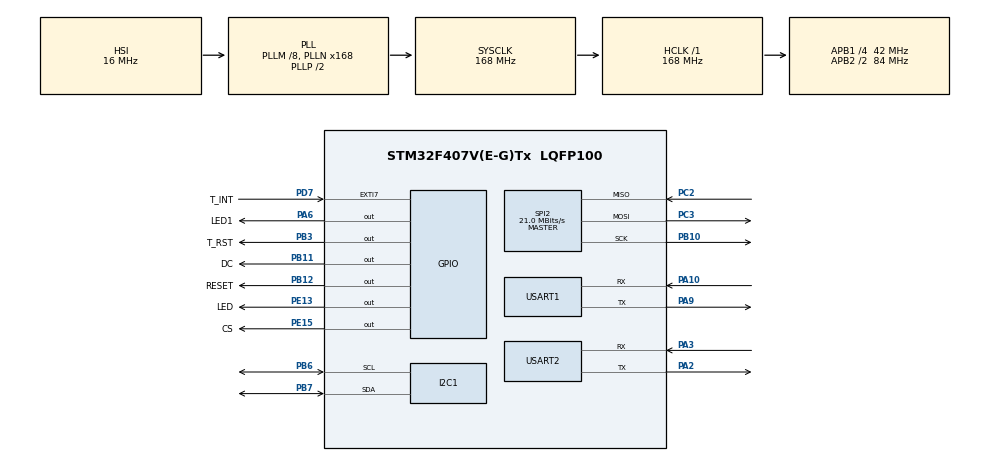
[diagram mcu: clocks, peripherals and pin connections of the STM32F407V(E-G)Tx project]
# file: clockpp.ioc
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Dma.Request0=SPI2_TX
Dma.Request1=USART2_RX
Dma.Request2=USART2_TX
Dma.SPI2_TX.0.Direction=DMA_MEMORY_TO_PERIPH
Dma.SPI2_TX.0.FIFOMode=DMA_FIFOMODE_DISABLE
Dma.SPI2_TX.0.Instance=DMA1_Stream4
Dma.SPI2_TX.0.MemDataAlignment=DMA_MDATAALIGN_BYTE
Dma.SPI2_TX.0.MemInc=DMA_MINC_ENABLE
Dma.SPI2_TX.0.Mode=DMA_NORMAL
Dma.SPI2_TX.0.PeriphDataAlignment=DMA_PDATAALIGN_BYTE
Dma.SPI2_TX.0.PeriphInc=DMA_PINC_DISABLE
Dma.SPI2_TX.0.Priority=DMA_PRIORITY_LOW
Dma.USART2_RX.1.Direction=DMA_PERIPH_TO_MEMORY
Dma.USART2_RX.1.FIFOMode=DMA_FIFOMODE_DISABLE
Dma.USART2_RX.1.Instance=DMA1_Stream5
Dma.USART2_RX.1.MemDataAlignment=DMA_MDATAALIGN_BYTE
Dma.USART2_RX.1.MemInc=DMA_MINC_ENABLE
Dma.USART2_RX.1.Mode=DMA_NORMAL
Dma.USART2_RX.1.PeriphDataAlignment=DMA_PDATAALIGN_BYTE
Dma.USART2_RX.1.PeriphInc=DMA_PINC_DISABLE
Dma.USART2_RX.1.Priority=DMA_PRIORITY_LOW
Dma.USART2_TX.2.Direction=DMA_MEMORY_TO_PERIPH
Dma.USART2_TX.2.FIFOMode=DMA_FIFOMODE_DISABLE
Dma.USART2_TX.2.Instance=DMA1_Stream6
Dma.USART2_TX.2.MemDataAlignment=DMA_MDATAALIGN_BYTE
Dma.USART2_TX.2.MemInc=DMA_MINC_ENABLE
Dma.USART2_TX.2.Mode=DMA_NORMAL
Dma.USART2_TX.2.PeriphDataAlignment=DMA_PDATAALIGN_BYTE
Dma.USART2_TX.2.PeriphInc=DMA_PINC_DISABLE
Dma.USART2_TX.2.Priority=DMA_PRIORITY_LOW
FREERTOS.Tasks01=defaultTask,24,128,StartDefaultTask,Default,NULL,Dynamic,NULL,NULL
FREERTOS.configCHECK_FOR_STACK_OVERFLOW=2
FREERTOS.configGENERATE_RUN_TIME_STATS=1
FREERTOS.configUSE_IDLE_HOOK=1
FREERTOS.configUSE_TICK_HOOK=1
Mcu.Family=STM32F4
Mcu.Name=STM32F407V(E-G)Tx
Mcu.Package=LQFP100
NVIC.DMA1_Stream4_IRQn=true\:5\:0\:false\:false\:true\:true\:false\:true\:true
NVIC.DMA1_Stream5_IRQn=true\:5\:0\:false\:false\:true\:true\:false\:true\:true
NVIC.DMA1_Stream6_IRQn=true\:5\:0\:false\:false\:true\:true\:false\:true\:true
NVIC.PriorityGroup=NVIC_PRIORITYGROUP_4
NVIC.SPI2_IRQn=true\:5\:0\:false\:false\:true\:true\:true\:true\:true
NVIC.TIM4_IRQn=true\:15\:0\:false\:false\:true\:false\:false\:true\:true
NVIC.TimeBase=TIM4_IRQn
NVIC.TimeBaseIP=TIM4
NVIC.USART1_IRQn=true\:5\:0\:false\:false\:true\:true\:true\:true\:true
NVIC.USART2_IRQn=true\:5\:0\:false\:false\:true\:true\:true\:true\:true
PA10.Mode=Asynchronous
PA10.Signal=USART1_RX
PA2.Mode=Asynchronous
PA2.Signal=USART2_TX
PA3.Mode=Asynchronous
PA3.Signal=USART2_RX
PA6.GPIO_Label=LED1
PA6.GPIO_PuPd=GPIO_PULLUP
PA6.Signal=GPIO_Output
PA9.Mode=Asynchronous
PA9.Signal=USART1_TX
PB10.Mode=Full_Duplex_Master
PB10.Signal=SPI2_SCK
PB11.GPIO_Label=DC
PB11.Signal=GPIO_Output
PB12.GPIO_Label=RESET
PB12.GPIO_PuPd=GPIO_PULLUP
PB12.Signal=GPIO_Output
PB3.GPIO_Label=T_RST
PB3.Signal=GPIO_Output
PB6.Mode=I2C
PB6.Signal=I2C1_SCL
PB7.Mode=I2C
PB7.Signal=I2C1_SDA
PC14-OSC32_IN.Mode=LSE-External-Oscillator
PC14-OSC32_IN.Signal=RCC_OSC32_IN
PC15-OSC32_OUT.Mode=LSE-External-Oscillator
PC15-OSC32_OUT.Signal=RCC_OSC32_OUT
PC2.Mode=Full_Duplex_Master
PC2.Signal=SPI2_MISO
PC3.Mode=Full_Duplex_Master
PC3.Signal=SPI2_MOSI
PD7.GPIO_Label=T_INT
PD7.Signal=GPXTI7
PE13.GPIO_Label=LED
PE13.Signal=GPIO_Output
PE15.GPIO_Label=CS
PE15.GPIO_PuPd=GPIO_PULLUP
PE15.Signal=GPIO_Output
PH0-OSC_IN.Mode=HSE-External-Oscillator
PH0-OSC_IN.Signal=RCC_OSC_IN
PH1-OSC_OUT.Mode=HSE-External-Oscillator
PH1-OSC_OUT.Signal=RCC_OSC_OUT
ProjectManager.HeapSize=0x200
ProjectManager.StackSize=0x400
ProjectManager.TargetToolchain=MDK-ARM V5.32
RCC.48MHZClocksFreq_Value=84000000
RCC.AHBFreq_Value=168000000
RCC.APB1CLKDivider=RCC_HCLK_DIV4
RCC.APB1Freq_Value=42000000
RCC.APB1TimFreq_Value=84000000
RCC.APB2CLKDivider=RCC_HCLK_DIV2
RCC.APB2Freq_Value=84000000
RCC.APB2TimFreq_Value=168000000
RCC.CortexFreq_Value=168000000
RCC.HCLKFreq_Value=168000000
RCC.HSE_VALUE=25000000
RCC.HSI_VALUE=16000000
RCC.PLLM=8
RCC.PLLN=168
RCC.RCC_RTC_Clock_Source=RCC_RTCCLKSOURCE_LSE
RCC.SYSCLKFreq_VALUE=168000000
RCC.SYSCLKSource=RCC_SYSCLKSOURCE_PLLCLK
RCC.VCOOutputFreq_Value=336000000
RTC.Format=RTC_FORMAT_BIN
SPI2.BaudRatePrescaler=SPI_BAUDRATEPRESCALER_2
SPI2.CLKPhase=SPI_PHASE_2EDGE
SPI2.CLKPolarity=SPI_POLARITY_HIGH
SPI2.CalculateBaudRate=21.0 MBits/s
SPI2.Direction=SPI_DIRECTION_2LINES
SPI2.Mode=SPI_MODE_MASTER
SPI2.VirtualType=VM_MASTER
USART1.VirtualMode=VM_ASYNC
USART2.VirtualMode=VM_ASYNC
VP_FREERTOS_VS_CMSIS_V2.Mode=CMSIS_V2
VP_RTC_VS_RTC_Activate.Mode=RTC_Enabled
VP_RTC_VS_RTC_Calendar.Mode=RTC_Calendar
VP_SYS_VS_tim4.Mode=TIM4
board=custom

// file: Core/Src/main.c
/* USER CODE BEGIN Header */
/**
  ******************************************************************************
  * @file           : main.c
  * @brief          : Main program body
  ******************************************************************************
  * @attention
  *
  * Copyright (c) 2026 STMicroelectronics.
  * All rights reserved.
  *
  * This software is licensed under terms that can be found in the LICENSE file
  * in the root directory of this software component.
  * If no LICENSE file comes with this software, it is provided AS-IS.
  *
  ******************************************************************************
  */
/* USER CODE END Header */
#include "main.h"
#include "cmsis_os.h"
#include "dma.h"
#include "i2c.h"
#include "rtc.h"
#include "spi.h"
#include "usart.h"
#include "gpio.h"

/* USER CODE BEGIN Includes */
#include <stdio.h>
/* USER CODE END Includes */

void SystemClock_Config(void);
void MX_FREERTOS_Init(void);

/* USER CODE BEGIN 0 */
int fputc(int ch,FILE *f)

{

//采用轮询方式发送1字节数据，超时时间设置为无限等待

HAL_UART_Transmit(&huart1,(uint8_t *)&ch,1,HAL_MAX_DELAY);

return ch;

}
/* USER CODE END 0 */

int main(void)
{

  /* MCU Configuration--------------------------------------------------------*/

  /* Reset of all peripherals, Initializes the Flash interface and the Systick. */
  HAL_Init();

  /* Configure the system clock */
  SystemClock_Config();

  /* Initialize all configured peripherals */
  MX_GPIO_Init();
  MX_DMA_Init();
  MX_USART1_UART_Init();
  MX_SPI2_Init();
  MX_I2C1_Init();
  MX_USART2_UART_Init();
  MX_RTC_Init();

  /* Init scheduler */
  osKernelInitialize();

  /* Call init function for freertos objects (in cmsis_os2.c) */
  MX_FREERTOS_Init();

  /* Start scheduler */
  osKernelStart();

  /* We should never get here as control is now taken by the scheduler */

  /* Infinite loop */
  while (1)
  {

  }
}

void SystemClock_Config(void)
{
  RCC_OscInitTypeDef RCC_OscInitStruct = {0};
  RCC_ClkInitTypeDef RCC_ClkInitStruct = {0};

  /** Configure the main internal regulator output voltage
  */
  __HAL_RCC_PWR_CLK_ENABLE();
  __HAL_PWR_VOLTAGESCALING_CONFIG(PWR_REGULATOR_VOLTAGE_SCALE1);

  /** Initializes the RCC Oscillators according to the specified parameters
  * in the RCC_OscInitTypeDef structure.
  */
  RCC_OscInitStruct.OscillatorType = RCC_OSCILLATORTYPE_HSI|RCC_OSCILLATORTYPE_LSE;
  RCC_OscInitStruct.LSEState = RCC_LSE_ON;
  RCC_OscInitStruct.HSIState = RCC_HSI_ON;
  RCC_OscInitStruct.HSICalibrationValue = RCC_HSICALIBRATION_DEFAULT;
  RCC_OscInitStruct.PLL.PLLState = RCC_PLL_ON;
  RCC_OscInitStruct.PLL.PLLSource = RCC_PLLSOURCE_HSI;
  RCC_OscInitStruct.PLL.PLLM = 8;
  RCC_OscInitStruct.PLL.PLLN = 168;
  RCC_OscInitStruct.PLL.PLLP = RCC_PLLP_DIV2;
  RCC_OscInitStruct.PLL.PLLQ = 4;
  if (HAL_RCC_OscConfig(&RCC_OscInitStruct) != HAL_OK)
  {
    Error_Handler();
  }

  /** Initializes the CPU, AHB and APB buses clocks
  */
  RCC_ClkInitStruct.ClockType = RCC_CLOCKTYPE_HCLK|RCC_CLOCKTYPE_SYSCLK
                              |RCC_CLOCKTYPE_PCLK1|RCC_CLOCKTYPE_PCLK2;
  RCC_ClkInitStruct.SYSCLKSource = RCC_SYSCLKSOURCE_PLLCLK;
  RCC_ClkInitStruct.AHBCLKDivider = RCC_SYSCLK_DIV1;
  RCC_ClkInitStruct.APB1CLKDivider = RCC_HCLK_DIV4;
  RCC_ClkInitStruct.APB2CLKDivider = RCC_HCLK_DIV2;

  if (HAL_RCC_ClockConfig(&RCC_ClkInitStruct, FLASH_LATENCY_5) != HAL_OK)
  {
    Error_Handler();
  }
}

void HAL_TIM_PeriodElapsedCallback(TIM_HandleTypeDef *htim)
{
  if (htim->Instance == TIM4) {
    HAL_IncTick();
  }
  /* USER CODE BEGIN Callback 1 */
  lv_tick_inc(1);
  /* USER CODE END Callback 1 */
}

void Error_Handler(void)
{
  __disable_irq();
  while (1)
  {
  }
}

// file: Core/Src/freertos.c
/* USER CODE BEGIN Header */
/**
  ******************************************************************************
  * File Name          : freertos.c
  * Description        : Code for freertos applications
  ******************************************************************************
  * @attention
  *
  * Copyright (c) 2026 STMicroelectronics.
  * All rights reserved.
  *
  * This software is licensed under terms that can be found in the LICENSE file
  * in the root directory of this software component.
  * If no LICENSE file comes with this software, it is provided AS-IS.
  *
  ******************************************************************************
  */
/* USER CODE END Header */

#include "FreeRTOS.h"
#include "task.h"
#include "main.h"
#include "cmsis_os.h"

/* USER CODE BEGIN Includes */
#include <stdio.h>
#include "display_wrapper.h"
#include "touch_wrapper.h"
#include "lv_port_indev.h"
#include "service_lettershell.h"

#include "rtc_wrapper.h"
#include "elog.h"
/* USER CODE END Includes */

/* Definitions for defaultTask */
osThreadId_t defaultTaskHandle;
const osThreadAttr_t defaultTask_attributes = {
  .name = "defaultTask",
  .stack_size = 128 * 4,
  .priority = (osPriority_t) osPriorityNormal,
};

/* USER CODE BEGIN FunctionPrototypes */
// #include "lvgl.h"
// #include "lv_port_disp.h"

/**
 * @brief 简单的按钮事件回调，用于测试触摸是否正常
 */
static void btn_event_cb(lv_event_t * e)
{
    lv_event_code_t code = lv_event_get_code(e);
    if(code == LV_EVENT_CLICKED) {
        printf("Button clicked\r\n"); // 如果开了日志，串口会打印

        // 点击后改变按钮文字
        lv_obj_t * label = lv_obj_get_child(lv_event_get_target(e), 0);
        lv_label_set_text(label, "Clicked!");
    }
}

/**
 * @brief LVGL v9.5 测试任务
 */
void lvgl_test_task(void *argument)
{
    /* 1. LVGL 核心库初始化 */
    lv_init();

    /* 2. 注册显示驱动 (内部会调用 Display_Init) */
    lv_port_disp_init();

    /* 3. 注册输入驱动 (触摸屏) */
    lv_port_indev_init();

    /* 4. 创建 UI 测试界面 */
    // v9 中建议使用 lv_screen_active() 替代 lv_scr_act()
    lv_obj_t * screen = lv_screen_active();

    // 创建一个按钮测试触摸 (v9 中 lv_btn_create 改为 lv_button_create)
    lv_obj_t * btn = lv_button_create(screen);
    lv_obj_set_size(btn, 150, 60);
    lv_obj_center(btn);
    lv_obj_add_event_cb(btn, btn_event_cb, LV_EVENT_ALL, NULL);

    // 在按钮里放个标签
    lv_obj_t * label = lv_label_create(btn);
    lv_label_set_text(label, "LVGL v9.5 Go!");
    lv_obj_center(label);

    /* 5. 任务主循环 */
    for(;;) {
        /*
         * lv_timer_handler() 在 v9 中会返回下一次任务执行需要的毫秒数。
         * 这是一个优化点，你可以根据返回值来动态调整 vTaskDelay。
         * 为了简单稳定，这里依然使用固定的 5-10ms 延时。
         */
        uint32_t sleep_ms = lv_timer_handler();

        if(sleep_ms < 5) sleep_ms = 5;   // 至少延时 5ms
        if(sleep_ms > 50) sleep_ms = 50; // 最多延时 50ms，防止任务长时间不响应

        vTaskDelay(pdMS_TO_TICKS(sleep_ms));
    }
}

void test_task(void *argument) {

  while(1) {

  }
}
/* USER CODE END FunctionPrototypes */

void StartDefaultTask(void *argument);

void MX_FREERTOS_Init(void); /* (MISRA C 2004 rule 8.1) */

/* Hook prototypes */
void configureTimerForRunTimeStats(void);
unsigned long getRunTimeCounterValue(void);
void vApplicationIdleHook(void);
void vApplicationTickHook(void);
void vApplicationStackOverflowHook(xTaskHandle xTask, signed char *pcTaskName);

/* USER CODE BEGIN 1 */
/* Functions needed when configGENERATE_RUN_TIME_STATS is on */
__weak void configureTimerForRunTimeStats(void)
{

}

__weak unsigned long getRunTimeCounterValue(void)
{
return 0;
}
/* USER CODE END 1 */

/* USER CODE BEGIN 2 */
void vApplicationIdleHook( void )
{
   /* vApplicationIdleHook() will only be called if configUSE_IDLE_HOOK is set
   to 1 in FreeRTOSConfig.h. It will be called on each iteration of the idle
   task. It is essential that code added to this hook function never attempts
   to block in any way (for example, call xQueueReceive() with a block time
   specified, or call vTaskDelay()). If the application makes use of the
   vTaskDelete() API function (as this demo application does) then it is also
   important that vApplicationIdleHook() is permitted to return to its calling
   function, because it is the responsibility of the idle task to clean up
   memory allocated by the kernel to any task that has since been deleted. */
}
/* USER CODE END 2 */

/* USER CODE BEGIN 3 */
void vApplicationTickHook( void )
{
   /* This function will be called by each tick interrupt if
   configUSE_TICK_HOOK is set to 1 in FreeRTOSConfig.h. User code can be
   added here, but the tick hook is called from an interrupt context, so
   code must not attempt to block, and only the interrupt safe FreeRTOS API
   functions can be used (those that end in FromISR()). */
}
/* USER CODE END 3 */

/* USER CODE BEGIN 4 */
void vApplicationStackOverflowHook(xTaskHandle xTask, signed char *pcTaskName)
{
   /* Run time stack overflow checking is performed if
   configCHECK_FOR_STACK_OVERFLOW is defined to 1 or 2. This hook function is
   called if a stack overflow is detected. */
}
/* USER CODE END 4 */

void MX_FREERTOS_Init(void) {

  //app_startingup();
  /* Create the thread(s) */
  /* creation of defaultTask */
  defaultTaskHandle = osThreadNew(StartDefaultTask, NULL, &defaultTask_attributes);

  /* USER CODE BEGIN RTOS_THREADS */
  /* add threads, ... */

 // xTaskCreate(test_task, "test_task", 2048, NULL, 1, NULL);
  //xTaskCreate(lvgl_test_task, "lvgl_test_task", 2048, NULL, 1, NULL);
  //xTaskCreate(task_shell, "task_shell", 2048, NULL, osPriorityNormal, NULL);
  /* USER CODE END RTOS_THREADS */

}
extern void EasyLogger_init(void);
void StartDefaultTask(void *argument)
{
  EasyLogger_init();

  /* USER CODE BEGIN StartDefaultTask */
  /* Infinite loop */
  // uint32_t t = 1;
	for(;;){

    log_a("Hello EasyLogger Assert!\r\n");
    log_e("Hello EasyLogger Error!\r\n");
    log_w("Hello EasyLogger Warn!\r\n");
    log_i("Hello EasyLogger Info!\r\n");
    log_d("Hello EasyLogger Debug!\r\n");
    log_v("Hello EasyLogger Verbose!\r\n");
		HAL_GPIO_WritePin(LED1_GPIO_Port, LED1_Pin, GPIO_PIN_RESET);
		vTaskDelay(500);
		HAL_GPIO_WritePin(LED1_GPIO_Port, LED1_Pin, GPIO_PIN_SET);
		vTaskDelay(500);
	}
  /* USER CODE END StartDefaultTask */
}
